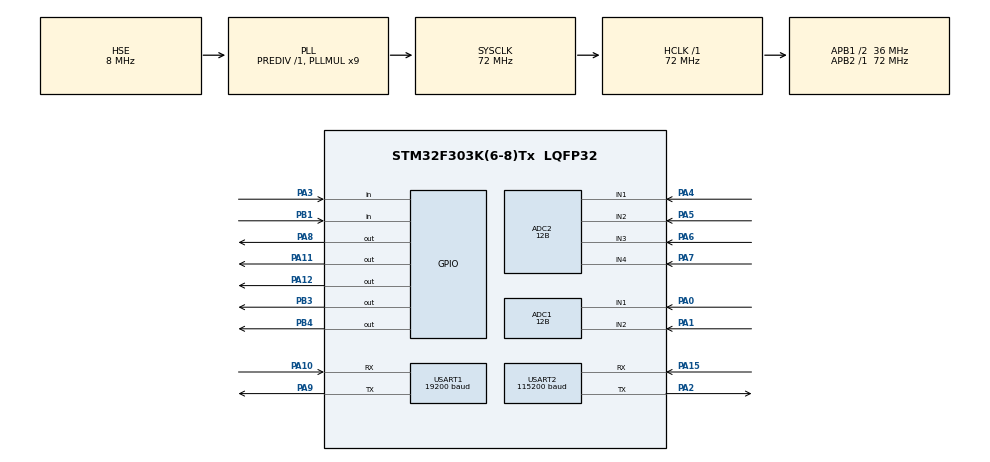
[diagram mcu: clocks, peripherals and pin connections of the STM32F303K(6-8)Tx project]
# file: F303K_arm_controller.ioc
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ADC1.Channel-21\#ChannelRegularConversion=ADC_CHANNEL_1
ADC1.Channel-22\#ChannelRegularConversion=ADC_CHANNEL_2
ADC1.ClockPrescaler=ADC_CLOCK_SYNC_PCLK_DIV4
ADC1.ContinuousConvMode=ENABLE
ADC1.DMAContinuousRequests=ENABLE
ADC1.DataAlign=ADC_DATAALIGN_RIGHT
ADC1.DiscontinuousConvMode=DISABLE
ADC1.EOCSelection=ADC_EOC_SINGLE_CONV
ADC1.EnableAnalogWatchDog1=false
ADC1.EnableAnalogWatchDog2=false
ADC1.EnableAnalogWatchDog3=false
ADC1.EnableInjectedConversion=ENABLE
ADC1.EnableRegularConversion=ENABLE
ADC1.ExternalTrigConv=ADC_SOFTWARE_START
ADC1.ExternalTrigConvEdge=ADC_EXTERNALTRIGCONVEDGE_NONE
ADC1.InjNumberOfConversion=0
ADC1.LowPowerAutoWait=DISABLE
ADC1.NbrOfConversion=2
ADC1.NbrOfConversionFlag=1
ADC1.Offset-21\#ChannelRegularConversion=0
ADC1.Offset-22\#ChannelRegularConversion=0
ADC1.OffsetNumber-21\#ChannelRegularConversion=ADC_OFFSET_NONE
ADC1.OffsetNumber-22\#ChannelRegularConversion=ADC_OFFSET_NONE
ADC1.Overrun=ADC_OVR_DATA_PRESERVED
ADC1.Rank-21\#ChannelRegularConversion=1
ADC1.Rank-22\#ChannelRegularConversion=2
ADC1.Resolution=ADC_RESOLUTION_12B
ADC1.SamplingTime-21\#ChannelRegularConversion=ADC_SAMPLETIME_61CYCLES_5
ADC1.SamplingTime-22\#ChannelRegularConversion=ADC_SAMPLETIME_61CYCLES_5
ADC1.ScanConvMode=ADC_SCAN_ENABLE
ADC1.SubFamily=STM32F303x8
ADC1.master=1
ADC2.Channel-30\#ChannelRegularConversion=ADC_CHANNEL_1
ADC2.Channel-31\#ChannelRegularConversion=ADC_CHANNEL_2
ADC2.Channel-32\#ChannelRegularConversion=ADC_CHANNEL_3
ADC2.Channel-33\#ChannelRegularConversion=ADC_CHANNEL_4
ADC2.ClockPrescaler=ADC_CLOCK_SYNC_PCLK_DIV4
ADC2.ContinuousConvMode=ENABLE
ADC2.DMAContinuousRequests=ENABLE
ADC2.DataAlign=ADC_DATAALIGN_RIGHT
ADC2.DiscontinuousConvMode=DISABLE
ADC2.EOCSelection=ADC_EOC_SINGLE_CONV
ADC2.EnableAnalogWatchDog1=false
ADC2.EnableAnalogWatchDog2=false
ADC2.EnableAnalogWatchDog3=false
ADC2.EnableInjectedConversion=ENABLE
ADC2.EnableRegularConversion=ENABLE
ADC2.ExternalTrigConv=ADC_SOFTWARE_START
ADC2.ExternalTrigConvEdge=ADC_EXTERNALTRIGCONVEDGE_NONE
ADC2.InjNumberOfConversion=0
ADC2.LowPowerAutoWait=DISABLE
ADC2.NbrOfConversion=4
ADC2.NbrOfConversionFlag=1
ADC2.Offset-30\#ChannelRegularConversion=0
ADC2.Offset-31\#ChannelRegularConversion=0
ADC2.Offset-32\#ChannelRegularConversion=0
ADC2.Offset-33\#ChannelRegularConversion=0
ADC2.OffsetNumber-30\#ChannelRegularConversion=ADC_OFFSET_NONE
ADC2.OffsetNumber-31\#ChannelRegularConversion=ADC_OFFSET_NONE
ADC2.OffsetNumber-32\#ChannelRegularConversion=ADC_OFFSET_NONE
ADC2.OffsetNumber-33\#ChannelRegularConversion=ADC_OFFSET_NONE
ADC2.Overrun=ADC_OVR_DATA_PRESERVED
ADC2.Rank-30\#ChannelRegularConversion=1
ADC2.Rank-31\#ChannelRegularConversion=2
ADC2.Rank-32\#ChannelRegularConversion=3
ADC2.Rank-33\#ChannelRegularConversion=4
ADC2.Resolution=ADC_RESOLUTION_12B
ADC2.SamplingTime-30\#ChannelRegularConversion=ADC_SAMPLETIME_61CYCLES_5
ADC2.SamplingTime-31\#ChannelRegularConversion=ADC_SAMPLETIME_61CYCLES_5
ADC2.SamplingTime-32\#ChannelRegularConversion=ADC_SAMPLETIME_61CYCLES_5
ADC2.SamplingTime-33\#ChannelRegularConversion=ADC_SAMPLETIME_61CYCLES_5
ADC2.ScanConvMode=ADC_SCAN_ENABLE
ADC2.SubFamily=STM32F303x8
Dma.ADC1.2.Direction=DMA_PERIPH_TO_MEMORY
Dma.ADC1.2.Instance=DMA1_Channel1
Dma.ADC1.2.MemDataAlignment=DMA_MDATAALIGN_HALFWORD
Dma.ADC1.2.MemInc=DMA_MINC_ENABLE
Dma.ADC1.2.Mode=DMA_CIRCULAR
Dma.ADC1.2.PeriphDataAlignment=DMA_PDATAALIGN_HALFWORD
Dma.ADC1.2.PeriphInc=DMA_PINC_DISABLE
Dma.ADC1.2.Priority=DMA_PRIORITY_MEDIUM
Dma.ADC2.0.Direction=DMA_PERIPH_TO_MEMORY
Dma.ADC2.0.Instance=DMA1_Channel2
Dma.ADC2.0.MemDataAlignment=DMA_MDATAALIGN_HALFWORD
Dma.ADC2.0.MemInc=DMA_MINC_ENABLE
Dma.ADC2.0.Mode=DMA_CIRCULAR
Dma.ADC2.0.PeriphDataAlignment=DMA_PDATAALIGN_HALFWORD
Dma.ADC2.0.PeriphInc=DMA_PINC_DISABLE
Dma.ADC2.0.Priority=DMA_PRIORITY_LOW
Dma.Request0=ADC2
Dma.Request1=USART1_TX
Dma.Request2=ADC1
Dma.USART1_TX.1.Direction=DMA_MEMORY_TO_PERIPH
Dma.USART1_TX.1.Instance=DMA1_Channel4
Dma.USART1_TX.1.MemDataAlignment=DMA_MDATAALIGN_BYTE
Dma.USART1_TX.1.MemInc=DMA_MINC_ENABLE
Dma.USART1_TX.1.Mode=DMA_CIRCULAR
Dma.USART1_TX.1.PeriphDataAlignment=DMA_PDATAALIGN_BYTE
Dma.USART1_TX.1.PeriphInc=DMA_PINC_DISABLE
Dma.USART1_TX.1.Priority=DMA_PRIORITY_LOW
Mcu.Family=STM32F3
Mcu.Name=STM32F303K(6-8)Tx
Mcu.Package=LQFP32
NVIC.DMA1_Channel1_IRQn=true\:1\:0\:true\:false\:true\:false
NVIC.DMA1_Channel2_IRQn=true\:2\:0\:true\:false\:true\:false
NVIC.DMA1_Channel4_IRQn=true\:3\:0\:true\:false\:true\:false
NVIC.PriorityGroup=NVIC_PRIORITYGROUP_4
PA0.Mode=IN1-Single-Ended
PA0.Signal=ADC1_IN1
PA1.Mode=IN2-Single-Ended
PA1.Signal=ADC1_IN2
PA10.Mode=Asynchronous
PA10.Signal=USART1_RX
PA11.Signal=GPIO_Output
PA12.Signal=GPIO_Output
PA13.Mode=Serial_Wire
PA13.Signal=SYS_JTMS-SWDIO
PA14.Mode=Serial_Wire
PA14.Signal=SYS_JTCK-SWCLK
PA15.Mode=Asynchronous
PA15.Signal=USART2_RX
PA2.Mode=Asynchronous
PA2.Signal=USART2_TX
PA3.Signal=GPIO_Input
PA4.Mode=IN1-Single-Ended
PA4.Signal=ADC2_IN1
PA5.Mode=IN2-Single-Ended
PA5.Signal=ADC2_IN2
PA6.Mode=IN3-Single-Ended
PA6.Signal=ADC2_IN3
PA7.Mode=IN4-Single-Ended
PA7.Signal=ADC2_IN4
PA8.Signal=GPIO_Output
PA9.Mode=Asynchronous
PA9.Signal=USART1_TX
PB1.Signal=GPIO_Input
PB3.Signal=GPIO_Output
PB4.Signal=GPIO_Output
PF0\ /\ OSC_IN.Mode=HSE-External-Oscillator
PF0\ /\ OSC_IN.Signal=RCC_OSC_IN
PF1\ /\ OSC_OUT.Mode=HSE-External-Oscillator
PF1\ /\ OSC_OUT.Signal=RCC_OSC_OUT
ProjectManager.HeapSize=0x200
ProjectManager.StackSize=0x400
ProjectManager.TargetToolchain=TrueSTUDIO
RCC.AHBFreq_Value=72000000
RCC.APB1CLKDivider=RCC_HCLK_DIV2
RCC.APB1Freq_Value=36000000
RCC.APB1TimFreq_Value=72000000
RCC.APB2Freq_Value=72000000
RCC.APB2TimFreq_Value=72000000
RCC.CortexFreq_Value=72000000
RCC.HCLKFreq_Value=72000000
RCC.HSE_VALUE=8000000
RCC.HSI_VALUE=8000000
RCC.PLLMUL=RCC_PLL_MUL9
RCC.PLLSourceVirtual=RCC_PLLSOURCE_HSE
RCC.SYSCLKFreq_VALUE=72000000
RCC.SYSCLKSourceVirtual=RCC_SYSCLKSOURCE_PLLCLK
USART1.BaudRate=19200
USART1.VirtualMode-Asynchronous=VM_ASYNC
USART1.WordLength=WORDLENGTH_8B
USART2.BaudRate=115200
USART2.VirtualMode-Asynchronous=VM_ASYNC
USART2.WordLength=WORDLENGTH_8B
board=F303K_arm_controller

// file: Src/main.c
/**
  ******************************************************************************
  * File Name          : main.c
  * Description        : Main program body
  ******************************************************************************
  ** This notice applies to any and all portions of this file
  * that are not between comment pairs USER CODE BEGIN and
  * USER CODE END. Other portions of this file, whether
  * inserted by the user or by software development tools
  * are owned by their respective copyright owners.
  *
  * COPYRIGHT(c) 2018 STMicroelectronics
  *
  * Redistribution and use in source and binary forms, with or without modification,
  * are permitted provided that the following conditions are met:
  *   1. Redistributions of source code must retain the above copyright notice,
  *      this list of conditions and the following disclaimer.
  *   2. Redistributions in binary form must reproduce the above copyright notice,
  *      this list of conditions and the following disclaimer in the documentation
  *      and/or other materials provided with the distribution.
  *   3. Neither the name of STMicroelectronics nor the names of its contributors
  *      may be used to endorse or promote products derived from this software
  *      without specific prior written permission.
  *
  * THIS SOFTWARE IS PROVIDED BY THE COPYRIGHT HOLDERS AND CONTRIBUTORS "AS IS"
  * AND ANY EXPRESS OR IMPLIED WARRANTIES, INCLUDING, BUT NOT LIMITED TO, THE
  * IMPLIED WARRANTIES OF MERCHANTABILITY AND FITNESS FOR A PARTICULAR PURPOSE ARE
  * DISCLAIMED. IN NO EVENT SHALL THE COPYRIGHT HOLDER OR CONTRIBUTORS BE LIABLE
  * FOR ANY DIRECT, INDIRECT, INCIDENTAL, SPECIAL, EXEMPLARY, OR CONSEQUENTIAL
  * DAMAGES (INCLUDING, BUT NOT LIMITED TO, PROCUREMENT OF SUBSTITUTE GOODS OR
  * SERVICES; LOSS OF USE, DATA, OR PROFITS; OR BUSINESS INTERRUPTION) HOWEVER
  * CAUSED AND ON ANY THEORY OF LIABILITY, WHETHER IN CONTRACT, STRICT LIABILITY,
  * OR TORT (INCLUDING NEGLIGENCE OR OTHERWISE) ARISING IN ANY WAY OUT OF THE USE
  * OF THIS SOFTWARE, EVEN IF ADVISED OF THE POSSIBILITY OF SUCH DAMAGE.
  *
  ******************************************************************************
  */

#include "main.h"
#include "stm32f3xx_hal.h"
#include "adc.h"
#include "dma.h"
#include "usart.h"
#include "gpio.h"

/* USER CODE BEGIN Includes */
#include "xprintf.h"
#include "stdlib.h"
/* USER CODE END Includes */

/* USER CODE BEGIN PV */
/* Private variables ---------------------------------------------------------*/

/* USER CODE END PV */

void SystemClock_Config(void);

/* USER CODE BEGIN PFP */
/* Private function prototypes -----------------------------------------------*/

/* USER CODE END PFP */

/* USER CODE BEGIN 0 */
#define ADC_CONVERTED_DATA_BUFFER_SIZE   ((uint32_t)  3)
uint16_t   aADCxConvertedDataR[2];
uint16_t   aADCxConvertedDataL[4];
ADC_ChannelConfTypeDef sConfig;
uint8_t Txbuf[14];
uint8_t count;
uint16_t mofumofu;
uint16_t tempdata1[5],tempdata2[5],tempdata3[5],tempdata4[5],tempdata5[5],tempdata6[5];
uint16_t sortdata1[5],sortdata2[5],sortdata3[5],sortdata4[5],sortdata5[5],sortdata6[5];
uint16_t out_lowpass[6];
uint16_t medianfilter_out1,medianfilter_out2,medianfilter_out3,medianfilter_out4,medianfilter_out5,medianfilter_out6;
uint16_t out_lowpass_temp1,out_lowpass_temp2,out_lowpass_temp3,out_lowpass_temp4,out_lowpass_temp5,out_lowpass_temp6;
int int_sort( const void *p, const void *q ) {
    return *(uint16_t*)p - *(uint16_t*)q;
}
#define data_cnt  sizeof(sortdata1)/sizeof(uint16_t)
#define rate 0.2

void HAL_UART_TxCpltCallback(UART_HandleTypeDef *huart)
{
	  HAL_GPIO_TogglePin(GPIOB,GPIO_PIN_3);
}
/* USER CODE END 0 */

int main(void)
{

  /* MCU Configuration----------------------------------------------------------*/

  /* Reset of all peripherals, Initializes the Flash interface and the Systick. */
  HAL_Init();

  /* Configure the system clock */
  SystemClock_Config();

  /* Initialize all configured peripherals */
  MX_GPIO_Init();
  MX_DMA_Init();
  MX_USART1_UART_Init();
  MX_USART2_UART_Init();
  MX_ADC1_Init();
  MX_ADC2_Init();

  /* USER CODE BEGIN 2 */
  if(HAL_GPIO_ReadPin(GPIOA,GPIO_PIN_3)==1){
	  HAL_GPIO_WritePin(GPIOA,GPIO_PIN_11,0);
  }
  else{
	  HAL_GPIO_WritePin(GPIOA,GPIO_PIN_11,1);
  }
    init_xprintf(&huart2);
    xdev_out(uart_putc);
    if (HAL_ADC_Init(&hadc1) != HAL_OK)
    {
  	  Error_Handler();
    }
    if (HAL_ADC_ConfigChannel(&hadc1, &sConfig) != HAL_OK)
    {
  	  Error_Handler();
    }
     if (HAL_ADC_Start_DMA(&hadc1, (uint32_t *)aADCxConvertedDataR,2) != HAL_OK)
     {
        Error_Handler();
     }
     if (HAL_ADC_Init(&hadc2) != HAL_OK)
     {
   	  Error_Handler();
     }
     if (HAL_ADC_ConfigChannel(&hadc2, &sConfig) != HAL_OK)
     {
   	  Error_Handler();
     }
      if (HAL_ADC_Start_DMA(&hadc2, (uint32_t *)aADCxConvertedDataL,4) != HAL_OK)
      {
         Error_Handler();
      }
     count=0;
     for(uint16_t start_wait_delay=0;start_wait_delay<200;start_wait_delay++){
    	  HAL_GPIO_WritePin(GPIOA,GPIO_PIN_8,1);
    	  tempdata1[count]=aADCxConvertedDataR[0];
  	   	  tempdata2[count]=aADCxConvertedDataR[1];
  	   	  tempdata3[count]=aADCxConvertedDataL[3];
  	   	  tempdata4[count]=aADCxConvertedDataL[0];
  	   	  tempdata5[count]=aADCxConvertedDataL[1];
  	   	  tempdata6[count]=aADCxConvertedDataL[2];
  	   	  for(uint8_t i=0;i<5;i++){
  	   	  sortdata1[i]=tempdata1[i];
  	   	  sortdata2[i]=tempdata2[i];
  	   	  sortdata3[i]=tempdata3[i];
  	   	  sortdata4[i]=tempdata4[i];
  	   	  sortdata5[i]=tempdata5[i];
  	   	  sortdata6[i]=tempdata6[i];
  	   	  }
  	   	  qsort(sortdata1,data_cnt,2,int_sort);
  	   	  qsort(sortdata2,data_cnt,2,int_sort);
  	   	  qsort(sortdata3,data_cnt,2,int_sort);
  	   	  qsort(sortdata4,data_cnt,2,int_sort);
  	   	  qsort(sortdata5,data_cnt,2,int_sort);
  	   	  qsort(sortdata6,data_cnt,2,int_sort);
  	   	  medianfilter_out1=sortdata1[2];
  	   	  medianfilter_out2=sortdata2[2];
  	   	  medianfilter_out3=sortdata3[2];
  	   	  medianfilter_out4=sortdata4[2];
  	   	  medianfilter_out5=sortdata5[2];
  	   	  medianfilter_out6=sortdata6[2];
  	   	  out_lowpass[0]=(float)((float)rate*medianfilter_out1+(float)(1-rate)*out_lowpass_temp1);
  	   	  out_lowpass[1]=(float)((float)rate*medianfilter_out2+(float)(1-rate)*out_lowpass_temp2);
  	   	  out_lowpass[2]=(float)((float)rate*medianfilter_out3+(float)(1-rate)*out_lowpass_temp3);
  	   	  out_lowpass[3]=(float)((float)rate*medianfilter_out4+(float)(1-rate)*out_lowpass_temp4);
  	   	  out_lowpass[4]=(float)((float)rate*medianfilter_out5+(float)(1-rate)*out_lowpass_temp5);
  	   	  out_lowpass[5]=(float)((float)rate*medianfilter_out6+(float)(1-rate)*out_lowpass_temp6);
  	   	  out_lowpass_temp1=out_lowpass[0];
  	   	  out_lowpass_temp2=out_lowpass[1];
  	   	  out_lowpass_temp3=out_lowpass[2];
  	   	  out_lowpass_temp4=out_lowpass[3];
  	   	  out_lowpass_temp5=out_lowpass[4];
  	   	  out_lowpass_temp6=out_lowpass[5];

  	  	  if(HAL_GPIO_ReadPin(GPIOA,GPIO_PIN_3)==0){
  	   	  xprintf("raw=%d",aADCxConvertedDataL[3]);
  	   	  xprintf(" medianfilter1=%d",medianfilter_out3);
  	   	  xprintf(" out1=%d",out_lowpass[2]);
  	   	  xprintf("\r\n");
  	  		  }
     	  if(count>=4){
     		  count=0;
     	  }
     	  else{
     		  count++;
     	  }

     }

     Txbuf[0]=254;
     Txbuf[1]= (uint8_t)( (out_lowpass[0]<<2) & 0b0000000011111111);
     Txbuf[2]= (uint8_t)(((out_lowpass[0]<<2) & 0b1111111100000000)>>8);
     Txbuf[3]= (uint8_t)( (out_lowpass[1]<<2) & 0b0000000011111111);
     Txbuf[4]= (uint8_t)(((out_lowpass[1]<<2) & 0b1111111100000000)>>8);
     Txbuf[5]= (uint8_t)( (out_lowpass[2]<<2) & 0b0000000011111111);
     Txbuf[6]= (uint8_t)(((out_lowpass[2]<<2) & 0b1111111100000000)>>8);
     Txbuf[7]= (uint8_t)( (out_lowpass[3]<<2) & 0b0000000011111111);
     Txbuf[8]= (uint8_t)(((out_lowpass[3]<<2) & 0b1111111100000000)>>8);
     Txbuf[9]= (uint8_t)( (out_lowpass[4]<<2) & 0b0000000011111111);
     Txbuf[10]=(uint8_t)(((out_lowpass[4]<<2) & 0b1111111100000000)>>8);
     Txbuf[11]=(uint8_t)( (out_lowpass[5]<<2) & 0b0000000011111111);
     Txbuf[12]=(uint8_t)(((out_lowpass[5]<<2) & 0b1111111100000000)>>8);
     Txbuf[13]=253;
     if (HAL_UART_Transmit_DMA(&huart1, (uint8_t *)Txbuf,14) != HAL_OK)
     {
    	 Error_Handler();
     }
	 HAL_GPIO_WritePin(GPIOA,GPIO_PIN_8,0);
  /* USER CODE END 2 */

  /* Infinite loop */
  while (1)
  {

  /* USER CODE BEGIN 3 */
	  tempdata1[count]=aADCxConvertedDataR[0];
	  tempdata2[count]=aADCxConvertedDataR[1];
	  tempdata3[count]=aADCxConvertedDataL[3];
	  tempdata4[count]=aADCxConvertedDataL[0];
	  tempdata5[count]=aADCxConvertedDataL[1];
	  tempdata6[count]=aADCxConvertedDataL[2];
  	  for(uint8_t i=0;i<5;i++){
  	  sortdata1[i]=tempdata1[i];
  	  sortdata2[i]=tempdata2[i];
  	  sortdata3[i]=tempdata3[i];
  	  sortdata4[i]=tempdata4[i];
  	  sortdata5[i]=tempdata5[i];
  	  sortdata6[i]=tempdata6[i];
  	  }
  	  qsort(sortdata1,data_cnt,2,int_sort);
  	  qsort(sortdata2,data_cnt,2,int_sort);
  	  qsort(sortdata3,data_cnt,2,int_sort);
  	  qsort(sortdata4,data_cnt,2,int_sort);
  	  qsort(sortdata5,data_cnt,2,int_sort);
  	  qsort(sortdata6,data_cnt,2,int_sort);
  	  medianfilter_out1=sortdata1[2];
  	  medianfilter_out2=sortdata2[2];
  	  medianfilter_out3=sortdata3[2];
  	  medianfilter_out4=sortdata4[2];
  	  medianfilter_out5=sortdata5[2];
  	  medianfilter_out6=sortdata6[2];
  	  out_lowpass[0]=(float)((float)rate*medianfilter_out1+(float)(1-rate)*out_lowpass_temp1);
  	  out_lowpass[1]=(float)((float)rate*medianfilter_out2+(float)(1-rate)*out_lowpass_temp2);
  	  out_lowpass[2]=(float)((float)rate*medianfilter_out3+(float)(1-rate)*out_lowpass_temp3);
  	  out_lowpass[3]=(float)((float)rate*medianfilter_out4+(float)(1-rate)*out_lowpass_temp4);
  	  out_lowpass[4]=(float)((float)rate*medianfilter_out5+(float)(1-rate)*out_lowpass_temp5);
  	  out_lowpass[5]=(float)((float)rate*medianfilter_out6+(float)(1-rate)*out_lowpass_temp6);
  	  out_lowpass_temp1=out_lowpass[0];
  	  out_lowpass_temp2=out_lowpass[1];
  	  out_lowpass_temp3=out_lowpass[2];
  	  out_lowpass_temp4=out_lowpass[3];
  	  out_lowpass_temp5=out_lowpass[4];
  	  out_lowpass_temp6=out_lowpass[5];
  	  if(count>=4){
  		  count=0;
  	  }
  	  else{
  		  count++;
  	  }

     Txbuf[0]=254;
     Txbuf[1]= (uint8_t)( (out_lowpass[0]<<2) & 0b0000000011111111);
     Txbuf[2]= (uint8_t)(((out_lowpass[0]<<2) & 0b1111111100000000)>>8);
     Txbuf[3]= (uint8_t)( (out_lowpass[1]<<2) & 0b0000000011111111);
     Txbuf[4]= (uint8_t)(((out_lowpass[1]<<2) & 0b1111111100000000)>>8);
     Txbuf[5]= (uint8_t)( (out_lowpass[2]<<2) & 0b0000000011111111);
     Txbuf[6]= (uint8_t)(((out_lowpass[2]<<2) & 0b1111111100000000)>>8);
     Txbuf[7]= (uint8_t)( (out_lowpass[3]<<2) & 0b0000000011111111);
     Txbuf[8]= (uint8_t)(((out_lowpass[3]<<2) & 0b1111111100000000)>>8);
     Txbuf[9]= (uint8_t)( (out_lowpass[4]<<2) & 0b0000000011111111);
     Txbuf[10]=(uint8_t)(((out_lowpass[4]<<2) & 0b1111111100000000)>>8);
     Txbuf[11]=(uint8_t)( (out_lowpass[5]<<2) & 0b0000000011111111);
     Txbuf[12]=(uint8_t)(((out_lowpass[5]<<2) & 0b1111111100000000)>>8);
     Txbuf[13]=253;

  	  if(HAL_GPIO_ReadPin(GPIOA,GPIO_PIN_3)==0){
  	  xprintf(" out1=%d",out_lowpass[0]);
  	  xprintf(" out2=%d",out_lowpass[1]);
  	  xprintf(" out3=%d",out_lowpass[2]);
  	  xprintf(" out4=%d",out_lowpass[3]);
  	  xprintf(" out5=%d",out_lowpass[4]);
  	  xprintf(" out6=%d",out_lowpass[5]);
  	  /*xprintf(" Tx[0]=%d",Txbuf[0]);
  	  xprintf(" Tx[1]=%d",Txbuf[1]);
  	  xprintf(" Tx[2]=%d",Txbuf[2]);
  	  xprintf(" Tx[3]=%d",Txbuf[3]);
  	  xprintf(" Tx[4]=%d",Txbuf[4]);
  	  xprintf(" Tx[5]=%d",Txbuf[5]);
  	  xprintf(" Tx[6]=%d",Txbuf[6]);
  	  xprintf(" Tx[7]=%d",Txbuf[7]);
  	  xprintf(" Tx[8]=%d",Txbuf[8]);
  	  xprintf(" Tx[9]=%d",Txbuf[9]);
  	  xprintf(" Tx[10]=%d",Txbuf[10]);
  	  xprintf(" Tx[11]=%d",Txbuf[11]);
  	  xprintf(" Tx[12]=%d",Txbuf[12]);
  	  xprintf(" Tx[13]=%d",Txbuf[13]);*/
  	  xprintf("\r\n");
  	  }
  	  if(mofumofu>5000){
  		  HAL_GPIO_TogglePin(GPIOA,GPIO_PIN_12);
  		  mofumofu=0;
  	  }
  	  else{mofumofu++;}
  	  if(HAL_GPIO_ReadPin(GPIOA,GPIO_PIN_3)==1){
  		  HAL_GPIO_WritePin(GPIOA,GPIO_PIN_11,0);
  	  }
  	  else{
  		  HAL_GPIO_WritePin(GPIOA,GPIO_PIN_11,1);
  	  }
  }
  /* USER CODE END 3 */

}

/** System Clock Configuration
*/
void SystemClock_Config(void)
{

  RCC_OscInitTypeDef RCC_OscInitStruct;
  RCC_ClkInitTypeDef RCC_ClkInitStruct;
  RCC_PeriphCLKInitTypeDef PeriphClkInit;

    /**Initializes the CPU, AHB and APB busses clocks
    */
  RCC_OscInitStruct.OscillatorType = RCC_OSCILLATORTYPE_HSE;
  RCC_OscInitStruct.HSEState = RCC_HSE_ON;
  RCC_OscInitStruct.HSEPredivValue = RCC_HSE_PREDIV_DIV1;
  RCC_OscInitStruct.HSIState = RCC_HSI_ON;
  RCC_OscInitStruct.PLL.PLLState = RCC_PLL_ON;
  RCC_OscInitStruct.PLL.PLLSource = RCC_PLLSOURCE_HSE;
  RCC_OscInitStruct.PLL.PLLMUL = RCC_PLL_MUL9;
  if (HAL_RCC_OscConfig(&RCC_OscInitStruct) != HAL_OK)
  {
    _Error_Handler(__FILE__, __LINE__);
  }

    /**Initializes the CPU, AHB and APB busses clocks
    */
  RCC_ClkInitStruct.ClockType = RCC_CLOCKTYPE_HCLK|RCC_CLOCKTYPE_SYSCLK
                              |RCC_CLOCKTYPE_PCLK1|RCC_CLOCKTYPE_PCLK2;
  RCC_ClkInitStruct.SYSCLKSource = RCC_SYSCLKSOURCE_PLLCLK;
  RCC_ClkInitStruct.AHBCLKDivider = RCC_SYSCLK_DIV1;
  RCC_ClkInitStruct.APB1CLKDivider = RCC_HCLK_DIV2;
  RCC_ClkInitStruct.APB2CLKDivider = RCC_HCLK_DIV1;

  if (HAL_RCC_ClockConfig(&RCC_ClkInitStruct, FLASH_LATENCY_2) != HAL_OK)
  {
    _Error_Handler(__FILE__, __LINE__);
  }

  PeriphClkInit.PeriphClockSelection = RCC_PERIPHCLK_USART1;
  PeriphClkInit.Usart1ClockSelection = RCC_USART1CLKSOURCE_PCLK1;
  if (HAL_RCCEx_PeriphCLKConfig(&PeriphClkInit) != HAL_OK)
  {
    _Error_Handler(__FILE__, __LINE__);
  }

    /**Configure the Systick interrupt time
    */
  HAL_SYSTICK_Config(HAL_RCC_GetHCLKFreq()/1000);

    /**Configure the Systick
    */
  HAL_SYSTICK_CLKSourceConfig(SYSTICK_CLKSOURCE_HCLK);

  /* SysTick_IRQn interrupt configuration */
  HAL_NVIC_SetPriority(SysTick_IRQn, 0, 0);
}

void _Error_Handler(char * file, int line)
{
  /* USER CODE BEGIN Error_Handler_Debug */
  /* User can add his own implementation to report the HAL error return state */
  while(1)
  {
	  HAL_GPIO_WritePin(GPIOA,GPIO_PIN_8,1);
  }
  /* USER CODE END Error_Handler_Debug */
}

/************************ (C) COPYRIGHT STMicroelectronics *****END OF FILE****/
